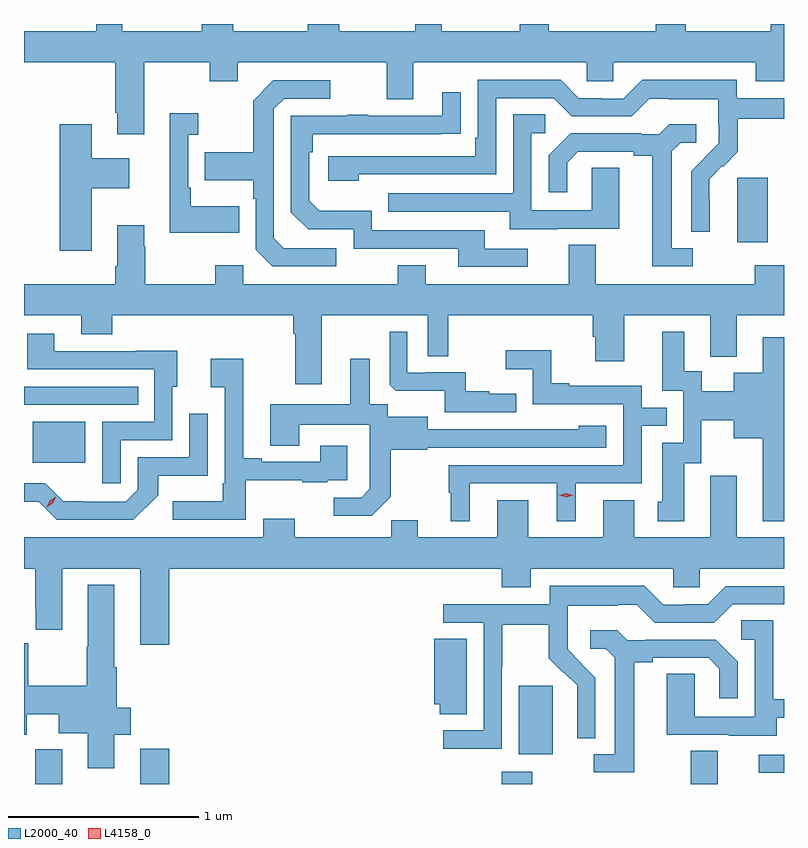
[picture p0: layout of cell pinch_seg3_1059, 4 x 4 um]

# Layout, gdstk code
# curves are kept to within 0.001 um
import gdstk
lib = gdstk.Library(unit=1e-6, precision=1e-09)
def R(c, l, rs):  # rectangles x0, y0, x1, y1
    for r in rs: c.add(gdstk.rectangle(r[:2], r[2:], *l))
def P(c, l, *ps):  # polygons
    for p in ps: c.add(gdstk.Polygon(p, *l))
L2000_40 = (2000, 40)
L4158_0 = (4158, 0)

pinch_seg3_1059 = lib.new_cell('pinch_seg3_1059')
R(pinch_seg3_1059, L2000_40, [(255.575,699.782,255.715,699.964), (256.127,699.782,256.279,699.967), (258.029,699.782,258.189,699.847), (259.025,699.782,259.165,699.956), (259.383,699.84,259.515,699.936), (258.119,699.938,258.298,700.299), (255.56,701.474,255.838,701.689), (255.515,701.778,256.115,701.874), (259.268,702.633,259.429,702.973)])
P(pinch_seg3_1059, L2000_40, [(256.147,703.58),(256.492,703.58),(256.492,703.481),(256.639,703.481),(256.639,703.58),(257.423,703.58),(257.423,703.386),(257.563,703.386),(257.563,703.58),(258.477,703.58),(258.477,703.482),(258.615,703.482),(258.615,703.58),(259.367,703.58),(259.367,703.481),(259.515,703.481),(259.515,703.782),(259.444,703.782),(259.444,703.744),(258.999,703.744),(258.999,703.782),(258.839,703.782),(258.839,703.744),(258.278,703.744),(258.278,703.782),(258.125,703.782),(258.125,703.744),(257.713,703.744),(257.713,703.782),(257.573,703.782),(257.573,703.744),(257.173,703.744),(257.173,703.782),(257.009,703.782),(257.009,703.744),(256.615,703.744),(256.615,703.782),(256.451,703.782),(256.451,703.744),(256.033,703.744),(256.033,703.782),(255.895,703.782),(255.895,703.744),(255.515,703.744),(255.515,703.58),(255.995,703.58),(255.995,703.315),(256.007,703.315),(256.007,703.203),(256.147,703.203)],
  [(259.123,702.86),(259.121,702.86),(259.121,702.965),(259.191,703.035),(259.194,703.032),(259.271,703.109),(259.271,703.284),(259.515,703.284),(259.515,703.392),(259.266,703.392),(259.266,703.489),(258.769,703.489),(258.669,703.389),(258.554,703.389),(258.554,703.392),(258.435,703.392),(258.339,703.488),(257.904,703.488),(257.904,703.183),(257.891,703.183),(257.891,703.086),(257.115,703.086),(257.115,702.956),(257.276,702.956),(257.276,702.99),(258,702.99),(258,703.392),(258.303,703.392),(258.399,703.296),(258.714,703.296),(258.807,703.389),(258.907,703.389),(258.907,703.385),(259.17,703.385),(259.17,703.251),(259.172,703.251),(259.172,703.154),(259.026,703.006),(259.026,702.688),(259.123,702.688)],
  [(257.158,702.603),(256.881,702.603),(256.83,702.654),(256.83,703.335),(256.884,703.389),(257.128,703.389),(257.128,703.485),(256.827,703.485),(256.722,703.379),(256.722,703.107),(256.465,703.107),(256.465,702.959),(256.722,702.959),(256.722,702.863),(256.734,702.863),(256.734,702.594),(256.821,702.507),(257.158,702.507)],
  [(258.166,702.6),(257.941,702.6),(257.941,702.696),(257.346,702.696),(257.346,702.799),(257.069,702.799),(257.016,702.852),(257.016,703.106),(257.036,703.106),(257.036,703.203),(257.813,703.204),(257.813,703.423),(257.717,703.423),(257.717,703.299),(257.327,703.299),(257.327,703.304),(257.215,703.304),(257.215,703.299),(256.92,703.299),(256.92,702.792),(257.01,702.702),(257.25,702.702),(257.25,702.6),(257.801,702.6),(257.801,702.504),(258.166,702.504)],
  [(256.649,702.823),(256.392,702.823),(256.392,702.919),(256.38,702.919),(256.38,703.199),(256.432,703.199),(256.432,703.312),(256.283,703.312),(256.283,702.683),(256.649,702.683)],
  [(258.325,702.705),(258.649,702.705),(258.649,703.025),(258.504,703.025),(258.504,702.801),(258.186,702.801),(258.186,703.206),(258.259,703.206),(258.259,703.307),(258.09,703.307),(258.09,702.891),(257.431,702.891),(257.431,702.795),(258.071,702.795),(258.071,702.701),(258.325,702.701)],
  [(255.871,702.917),(256.069,702.917),(256.069,703.075),(255.871,703.075),(255.871,703.255),(255.704,703.255),(255.704,702.588),(255.871,702.588)],
  [(259.036,702.603),(258.925,702.603),(258.925,703.111),(258.972,703.158),(259.054,703.158),(259.054,703.255),(258.91,703.255),(258.858,703.203),(258.764,703.203),(258.764,703.206),(258.392,703.206),(258.276,703.09),(258.276,702.897),(258.373,702.897),(258.373,703.053),(258.43,703.11),(258.725,703.11),(258.725,703.088),(258.821,703.088),(258.821,702.507),(259.036,702.507)],
  [(258.383,702.412),(257.629,702.412),(257.629,702.511),(257.482,702.511),(257.482,702.412),(256.668,702.412),(256.668,702.511),(256.522,702.511),(256.522,702.412),(256.154,702.412),(256.154,702.611),(256.147,702.611),(256.147,702.724),(256.007,702.724),(256.007,702.508),(255.995,702.508),(255.995,702.412),(255.515,702.412),(255.515,702.248),(255.815,702.248),(255.815,702.149),(255.979,702.149),(255.979,702.248),(256.931,702.248),(256.931,702.152),(256.943,702.152),(256.943,701.886),(257.083,701.886),(257.083,702.248),(257.64,702.248),(257.64,702.034),(257.749,702.034),(257.749,702.248),(258.509,702.248),(258.509,702.135),(258.521,702.135),(258.521,702.006),(258.673,702.006),(258.673,702.248),(259.127,702.248),(259.127,702.032),(259.267,702.032),(259.267,702.248),(259.515,702.248),(259.515,702.511),(259.36,702.511),(259.36,702.412),(258.523,702.412),(258.523,702.62),(258.383,702.62)],
  [(259.515,702.133),(259.403,702.133),(259.403,701.947),(259.25,701.947),(259.25,701.848),(259.081,701.848),(259.081,701.954),(258.991,701.954),(258.991,702.163),(258.875,702.163),(258.875,701.853),(258.984,701.853),(258.984,701.577),(258.875,701.577),(258.875,701.268),(258.851,701.268),(258.851,701.166),(258.991,701.166),(258.991,701.469),(259.08,701.469),(259.08,701.696),(259.25,701.696),(259.25,701.603),(259.403,701.603),(259.403,701.165),(259.515,701.165)],
  [(258.107,701.836),(257.963,701.836),(257.963,701.848),(257.84,701.848),(257.84,701.949),(257.632,701.949),(257.632,701.946),(257.532,701.946),(257.532,702.163),(257.439,702.163),(257.439,701.883),(257.471,701.852),(257.73,701.852),(257.73,701.739),(258.107,701.739)],
  [(256.023,701.592),(256.296,701.592),(256.296,701.874),(256.321,701.874),(256.321,702.062),(256.103,702.062),(256.103,702.06),(255.673,702.06),(255.673,702.151),(255.533,702.151),(255.533,701.964),(256.2,701.964),(256.2,701.688),(255.927,701.688),(255.927,701.364),(256.023,701.364)],
  [(257.86,701.364),(258.32,701.364),(258.32,701.165),(258.418,701.165),(258.418,701.364),(258.765,701.364),(258.765,701.667),(258.899,701.667),(258.899,701.763),(258.765,701.763),(258.765,701.877),(258.385,701.877),(258.385,701.89),(258.291,701.89),(258.291,702.065),(258.051,702.065),(258.051,701.966),(258.192,701.966),(258.192,701.781),(258.669,701.781),(258.669,701.46),(257.751,701.46),(257.751,701.316),(257.762,701.316),(257.762,701.165),(257.86,701.165)],
  [(256.681,701.381),(256.979,701.381),(256.979,701.37),(257.111,701.37),(257.111,701.382),(257.215,701.382),(257.215,701.563),(257.075,701.563),(257.075,701.478),(256.765,701.478),(256.765,701.497),(256.669,701.497),(256.669,702.019),(256.497,702.019),(256.497,701.87),(256.572,701.87),(256.572,701.365),(256.56,701.365),(256.56,701.269),(256.299,701.269),(256.299,701.172),(256.681,701.172)],
  [(257.445,701.295),(257.445,701.541),(257.637,701.541),(257.637,701.553),(258.58,701.553),(258.58,701.668),(258.435,701.668),(258.435,701.65),(257.641,701.649),(257.641,701.716),(257.43,701.716),(257.43,701.78),(257.335,701.78),(257.335,702.019),(257.231,702.019),(257.231,701.782),(256.811,701.782),(256.811,701.563),(256.963,701.563),(256.963,701.672),(257.334,701.672),(257.334,701.431),(257.336,701.431),(257.336,701.336),(257.289,701.289),(257.145,701.289),(257.145,701.195),(257.345,701.195)],
  [(256.221,701.303),(256.221,701.405),(256.482,701.405),(256.482,701.731),(256.386,701.731),(256.386,701.502),(256.113,701.502),(256.113,701.331),(256.05,701.268),(255.826,701.268),(255.826,701.27),(255.722,701.27),(255.627,701.364),(255.515,701.364),(255.515,701.267),(255.593,701.267),(255.687,701.172),(256.09,701.172)],
  [(259.128,701.404),(259.128,701.291),(259.127,701.291),(259.127,701.08),(258.727,701.08),(258.727,701.275),(258.563,701.275),(258.563,701.08),(258.169,701.08),(258.169,701.275),(258.005,701.275),(258.005,701.08),(257.587,701.08),(257.587,701.171),(257.449,701.171),(257.449,701.08),(256.939,701.08),(256.939,701.179),(256.775,701.179),(256.775,701.08),(255.515,701.08),(255.515,700.916),(255.575,700.916),(255.575,700.705),(255.578,700.705),(255.578,700.593),(255.715,700.593),(255.715,700.916),(256.127,700.916),(256.127,700.515),(256.279,700.515),(256.279,700.916),(258.029,700.916),(258.029,700.817),(258.181,700.817),(258.181,700.916),(258.933,700.916),(258.933,700.818),(259.071,700.818),(259.071,700.916),(259.515,700.916),(259.515,701.08),(259.267,701.08),(259.267,701.404)],
  [(255.991,700.042),(256.078,700.042),(256.078,700.184),(256.004,700.184),(256.004,700.396),(255.991,700.396),(255.991,700.831),(255.851,700.831),(255.851,700.505),(255.844,700.505),(255.844,700.3),(255.537,700.3),(255.537,700.523),(255.515,700.523),(255.515,700.042),(255.529,700.042),(255.529,700.148),(255.698,700.148),(255.698,700.049),(255.851,700.049),(255.851,699.864),(255.991,699.864)],
  [(258.03,700.396),(258.033,700.396),(258.033,700.62),(258.277,700.62),(258.277,700.445),(258.354,700.368),(258.357,700.371),(258.428,700.301),(258.428,700.178),(258.426,700.178),(258.426,700.024),(258.522,700.024),(258.522,700.342),(258.376,700.49),(258.376,700.587),(258.378,700.587),(258.378,700.721),(258.641,700.721),(258.641,700.725),(258.741,700.725),(258.834,700.632),(259.149,700.632),(259.245,700.728),(259.515,700.728),(259.515,700.824),(259.209,700.824),(259.113,700.728),(258.995,700.728),(258.995,700.725),(258.879,700.725),(258.779,700.825),(258.282,700.825),(258.282,700.728),(257.721,700.728),(257.721,700.632),(257.934,700.632),(257.934,700.065),(257.721,700.065),(257.721,699.967),(258.03,699.967)],
  [(259.477,700.131),(259.515,700.131),(259.515,700.227),(259.458,700.227),(259.458,700.643),(259.29,700.643),(259.29,700.542),(259.362,700.542),(259.362,700.137),(259.044,700.137),(259.044,700.361),(258.899,700.361),(258.899,700.041),(259.223,700.041),(259.223,700.037),(259.477,700.037)],
  [(258.727,700.424),(258.823,700.424),(258.823,700.446),(259.118,700.446),(259.175,700.389),(259.175,700.233),(259.272,700.233),(259.272,700.426),(259.156,700.542),(258.784,700.542),(258.784,700.539),(258.69,700.539),(258.638,700.591),(258.495,700.591),(258.495,700.494),(258.576,700.494),(258.623,700.447),(258.623,699.939),(258.513,699.939),(258.513,699.843),(258.727,699.843)],
  [(257.845,700.547),(257.675,700.547),(257.675,700.203),(257.702,700.203),(257.702,700.15),(257.845,700.15)])
P(pinch_seg3_1059, L4158_0, [(255.635,701.238),(255.635,701.238),(255.651,701.272),(255.682,701.293),(255.682,701.293),(255.682,701.293),(255.666,701.259),(255.635,701.238)],
  [(258.369,701.291),(258.333,701.301),(258.333,701.301),(258.333,701.301),(258.369,701.311),(258.405,701.301),(258.405,701.301),(258.405,701.301)])

lib.write_gds('pinch_seg3_1059.gds')
